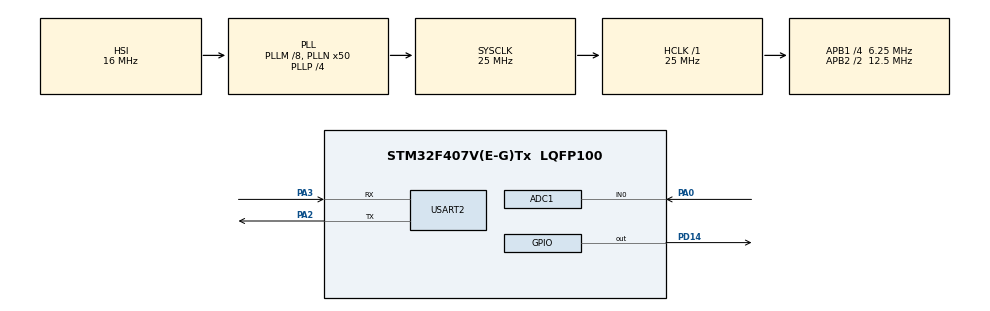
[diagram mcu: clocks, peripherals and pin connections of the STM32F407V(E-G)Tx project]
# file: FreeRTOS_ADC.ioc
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ADC1.Channel-0\#ChannelRegularConversion=ADC_CHANNEL_0
ADC1.NbrOfConversionFlag=1
ADC1.Rank-0\#ChannelRegularConversion=1
ADC1.SamplingTime-0\#ChannelRegularConversion=ADC_SAMPLETIME_3CYCLES
ADC1.master=1
FREERTOS.INCLUDE_vTaskDelayUntil=1
FREERTOS.Tasks01=defaultTask,-3,128,StartDefaultTask,Default,NULL,Dynamic,NULL,NULL
FREERTOS.configUSE_NEWLIB_REENTRANT=1
Mcu.Family=STM32F4
Mcu.Name=STM32F407V(E-G)Tx
Mcu.Package=LQFP100
NVIC.PriorityGroup=NVIC_PRIORITYGROUP_4
NVIC.TIM1_UP_TIM10_IRQn=true\:15\:0\:false\:false\:true\:false\:false\:true\:true
NVIC.TimeBase=TIM1_UP_TIM10_IRQn
NVIC.TimeBaseIP=TIM1
PA0-WKUP.Signal=ADCx_IN0
PA2.Mode=Asynchronous
PA2.Signal=USART2_TX
PA3.Mode=Asynchronous
PA3.Signal=USART2_RX
PD14.Signal=GPIO_Output
ProjectManager.HeapSize=0x200
ProjectManager.StackSize=0x400
ProjectManager.TargetToolchain=STM32CubeIDE
RCC.48MHZClocksFreq_Value=14285714.285714285
RCC.AHBFreq_Value=25000000
RCC.APB1CLKDivider=RCC_HCLK_DIV4
RCC.APB1Freq_Value=6250000
RCC.APB1TimFreq_Value=12500000
RCC.APB2CLKDivider=RCC_HCLK_DIV2
RCC.APB2Freq_Value=12500000
RCC.APB2TimFreq_Value=25000000
RCC.CortexFreq_Value=25000000
RCC.HCLKFreq_Value=25000000
RCC.HSE_VALUE=8000000
RCC.HSI_VALUE=16000000
RCC.LSE_VALUE=32768
RCC.PLLM=8
RCC.PLLN=50
RCC.PLLP=RCC_PLLP_DIV4
RCC.PLLQ=7
RCC.SYSCLKFreq_VALUE=25000000
RCC.SYSCLKSource=RCC_SYSCLKSOURCE_PLLCLK
RCC.VCOOutputFreq_Value=100000000
SH.ADCx_IN0.0=ADC1_IN0,IN0
USART2.VirtualMode=VM_ASYNC
VP_FREERTOS_VS_CMSIS_V1.Mode=CMSIS_V1
VP_SYS_VS_tim1.Mode=TIM1
board=STM32F407G-DISC1

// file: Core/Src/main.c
/* USER CODE BEGIN Header */
/**
  ******************************************************************************
  * @file           : main.c
  * @brief          : Main program body
  ******************************************************************************
  * @attention
  *
  * Copyright (c) 2026 STMicroelectronics.
  * All rights reserved.
  *
  * This software is licensed under terms that can be found in the LICENSE file
  * in the root directory of this software component.
  * If no LICENSE file comes with this software, it is provided AS-IS.
  *
  ******************************************************************************
  */
/* USER CODE END Header */
#include "main.h"
#include "cmsis_os.h"

/* USER CODE BEGIN Includes */
#include<string.h>
#include<stdio.h>
/* USER CODE END Includes */

ADC_HandleTypeDef hadc1;

UART_HandleTypeDef huart2;

osThreadId defaultTaskHandle;

void SystemClock_Config(void);
static void MX_GPIO_Init(void);
static void MX_USART2_UART_Init(void);
static void MX_ADC1_Init(void);
void StartDefaultTask(void const * argument);

/* USER CODE BEGIN 0 */

void vUARTSendingTask(void *pvParam)
{
	char str[20];
	portTickType xLastWakeUpTime = xTaskGetTickCount();
	for ( ; ; )
	{
		HAL_ADC_Start(&hadc1);
		HAL_ADC_PollForConversion(&hadc1, HAL_MAX_DELAY);
		uint32_t value = HAL_ADC_GetValue(&hadc1);
		HAL_ADC_Stop(&hadc1);

		sprintf(str, "Intensity = %lu\n\r", value);
		HAL_UART_Transmit(&huart2, (const uint8_t *)str, strlen(str), HAL_MAX_DELAY);
		vTaskDelayUntil(&xLastWakeUpTime, 2000 / portTICK_RATE_MS);
	}
	vTaskDelete(NULL);
}

void vLEDBlinkingTask(void *pvParam)
{
	for ( ; ; )
	{
		HAL_GPIO_WritePin(GPIOD, GPIO_PIN_14, GPIO_PIN_SET);
		HAL_Delay(500);
		HAL_GPIO_WritePin(GPIOD, GPIO_PIN_14, GPIO_PIN_RESET);
		vTaskDelay(1000 / portTICK_RATE_MS);
	}
	vTaskDelete(NULL);
}

/* USER CODE END 0 */

int main(void)
{
  /* USER CODE BEGIN 1 */
	char *pcMessage = "Sending ADC Data\r\n";
	xTaskHandle xhandle;
  /* USER CODE END 1 */

  /* MCU Configuration--------------------------------------------------------*/

  /* Reset of all peripherals, Initializes the Flash interface and the Systick. */
  HAL_Init();

  /* Configure the system clock */
  SystemClock_Config();

  /* Initialize all configured peripherals */
  MX_GPIO_Init();
  MX_USART2_UART_Init();
  MX_ADC1_Init();

  /* Create the thread(s) */
  /* definition and creation of defaultTask */
  osThreadDef(defaultTask, StartDefaultTask, osPriorityIdle, 0, 128);
  defaultTaskHandle = osThreadCreate(osThread(defaultTask), NULL);

  /* USER CODE BEGIN RTOS_THREADS */
  HAL_UART_Transmit(&huart2, (const uint8_t *)pcMessage, strlen(pcMessage), HAL_MAX_DELAY);
  xTaskCreate(vUARTSendingTask, "ADC Task", configMINIMAL_STACK_SIZE, NULL, 4, &xhandle);
  xTaskCreate(vLEDBlinkingTask, "LED Task", configMINIMAL_STACK_SIZE, NULL, 3, &xhandle);

  /* USER CODE END RTOS_THREADS */

  /* Start scheduler */
  osKernelStart();

  /* We should never get here as control is now taken by the scheduler */
  /* Infinite loop */
  while (1)
  {

  }
}

void SystemClock_Config(void)
{
  RCC_OscInitTypeDef RCC_OscInitStruct = {0};
  RCC_ClkInitTypeDef RCC_ClkInitStruct = {0};

  /** Configure the main internal regulator output voltage
  */
  __HAL_RCC_PWR_CLK_ENABLE();
  __HAL_PWR_VOLTAGESCALING_CONFIG(PWR_REGULATOR_VOLTAGE_SCALE1);

  /** Initializes the RCC Oscillators according to the specified parameters
  * in the RCC_OscInitTypeDef structure.
  */
  RCC_OscInitStruct.OscillatorType = RCC_OSCILLATORTYPE_HSI;
  RCC_OscInitStruct.HSIState = RCC_HSI_ON;
  RCC_OscInitStruct.HSICalibrationValue = RCC_HSICALIBRATION_DEFAULT;
  RCC_OscInitStruct.PLL.PLLState = RCC_PLL_ON;
  RCC_OscInitStruct.PLL.PLLSource = RCC_PLLSOURCE_HSI;
  RCC_OscInitStruct.PLL.PLLM = 8;
  RCC_OscInitStruct.PLL.PLLN = 50;
  RCC_OscInitStruct.PLL.PLLP = RCC_PLLP_DIV4;
  RCC_OscInitStruct.PLL.PLLQ = 7;
  if (HAL_RCC_OscConfig(&RCC_OscInitStruct) != HAL_OK)
  {
    Error_Handler();
  }

  /** Initializes the CPU, AHB and APB buses clocks
  */
  RCC_ClkInitStruct.ClockType = RCC_CLOCKTYPE_HCLK|RCC_CLOCKTYPE_SYSCLK
                              |RCC_CLOCKTYPE_PCLK1|RCC_CLOCKTYPE_PCLK2;
  RCC_ClkInitStruct.SYSCLKSource = RCC_SYSCLKSOURCE_PLLCLK;
  RCC_ClkInitStruct.AHBCLKDivider = RCC_SYSCLK_DIV1;
  RCC_ClkInitStruct.APB1CLKDivider = RCC_HCLK_DIV4;
  RCC_ClkInitStruct.APB2CLKDivider = RCC_HCLK_DIV2;

  if (HAL_RCC_ClockConfig(&RCC_ClkInitStruct, FLASH_LATENCY_0) != HAL_OK)
  {
    Error_Handler();
  }
}

static void MX_ADC1_Init(void)
{

  ADC_ChannelConfTypeDef sConfig = {0};

  /** Configure the global features of the ADC (Clock, Resolution, Data Alignment and number of conversion)
  */
  hadc1.Instance = ADC1;
  hadc1.Init.ClockPrescaler = ADC_CLOCK_SYNC_PCLK_DIV2;
  hadc1.Init.Resolution = ADC_RESOLUTION_12B;
  hadc1.Init.ScanConvMode = DISABLE;
  hadc1.Init.ContinuousConvMode = DISABLE;
  hadc1.Init.DiscontinuousConvMode = DISABLE;
  hadc1.Init.ExternalTrigConvEdge = ADC_EXTERNALTRIGCONVEDGE_NONE;
  hadc1.Init.ExternalTrigConv = ADC_SOFTWARE_START;
  hadc1.Init.DataAlign = ADC_DATAALIGN_RIGHT;
  hadc1.Init.NbrOfConversion = 1;
  hadc1.Init.DMAContinuousRequests = DISABLE;
  hadc1.Init.EOCSelection = ADC_EOC_SINGLE_CONV;
  if (HAL_ADC_Init(&hadc1) != HAL_OK)
  {
    Error_Handler();
  }

  /** Configure for the selected ADC regular channel its corresponding rank in the sequencer and its sample time.
  */
  sConfig.Channel = ADC_CHANNEL_0;
  sConfig.Rank = 1;
  sConfig.SamplingTime = ADC_SAMPLETIME_3CYCLES;
  if (HAL_ADC_ConfigChannel(&hadc1, &sConfig) != HAL_OK)
  {
    Error_Handler();
  }

}

static void MX_USART2_UART_Init(void)
{

  huart2.Instance = USART2;
  huart2.Init.BaudRate = 115200;
  huart2.Init.WordLength = UART_WORDLENGTH_8B;
  huart2.Init.StopBits = UART_STOPBITS_1;
  huart2.Init.Parity = UART_PARITY_NONE;
  huart2.Init.Mode = UART_MODE_TX_RX;
  huart2.Init.HwFlowCtl = UART_HWCONTROL_NONE;
  huart2.Init.OverSampling = UART_OVERSAMPLING_16;
  if (HAL_UART_Init(&huart2) != HAL_OK)
  {
    Error_Handler();
  }

}

static void MX_GPIO_Init(void)
{
  GPIO_InitTypeDef GPIO_InitStruct = {0};

  /* GPIO Ports Clock Enable */
  __HAL_RCC_GPIOA_CLK_ENABLE();
  __HAL_RCC_GPIOD_CLK_ENABLE();

  /*Configure GPIO pin Output Level */
  HAL_GPIO_WritePin(GPIOD, GPIO_PIN_14, GPIO_PIN_RESET);

  /*Configure GPIO pin : PD14 */
  GPIO_InitStruct.Pin = GPIO_PIN_14;
  GPIO_InitStruct.Mode = GPIO_MODE_OUTPUT_PP;
  GPIO_InitStruct.Pull = GPIO_NOPULL;
  GPIO_InitStruct.Speed = GPIO_SPEED_FREQ_LOW;
  HAL_GPIO_Init(GPIOD, &GPIO_InitStruct);

}

void StartDefaultTask(void const * argument)
{
  for(;;)
  {
    osDelay(1);
  }
}

void HAL_TIM_PeriodElapsedCallback(TIM_HandleTypeDef *htim)
{
  if (htim->Instance == TIM1) {
    HAL_IncTick();
  }
}

void Error_Handler(void)
{
  __disable_irq();
  while (1)
  {
  }
}
